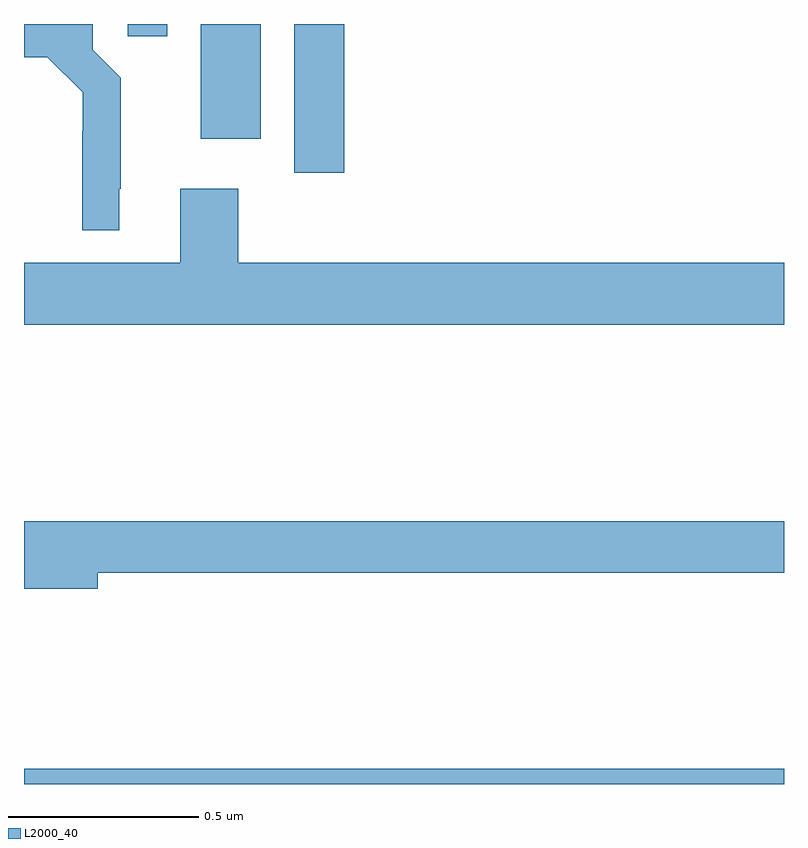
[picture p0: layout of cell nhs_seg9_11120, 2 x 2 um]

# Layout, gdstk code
import gdstk
lib = gdstk.Library(unit=1e-6, precision=1e-09)
def R(c, l, rs):  # rectangles x0, y0, x1, y1
    for r in rs: c.add(gdstk.rectangle(r[:2], r[2:], *l))
def P(c, l, *ps):  # polygons
    for p in ps: c.add(gdstk.Polygon(p, *l))
L2000_40 = (2000, 40)

nhs_seg9_11120 = lib.new_cell('nhs_seg9_11120')
R(nhs_seg9_11120, L2000_40, [(251,1240.5,253,1240.54), (251.711,1242.108,251.843,1242.5), (251.465,1242.198,251.623,1242.5), (251.273,1242.468,251.377,1242.5)])
P(nhs_seg9_11120, L2000_40, [(251.251,1242.067),(251.254,1242.067),(251.254,1242.359),(251.181,1242.432),(251.181,1242.5),(251,1242.5),(251,1242.413),(251.061,1242.413),(251.154,1242.32),(251.154,1242.218),(251.153,1242.218),(251.153,1241.957),(251.251,1241.957)],
  [(253,1241.872),(251.564,1241.872),(251.564,1242.067),(251.411,1242.067),(251.411,1241.872),(251,1241.872),(251,1241.708),(253,1241.708)],
  [(251.194,1241.056),(253,1241.056),(253,1241.192),(251,1241.192),(251,1241.014),(251.194,1241.014)])

lib.write_gds('nhs_seg9_11120.gds')
